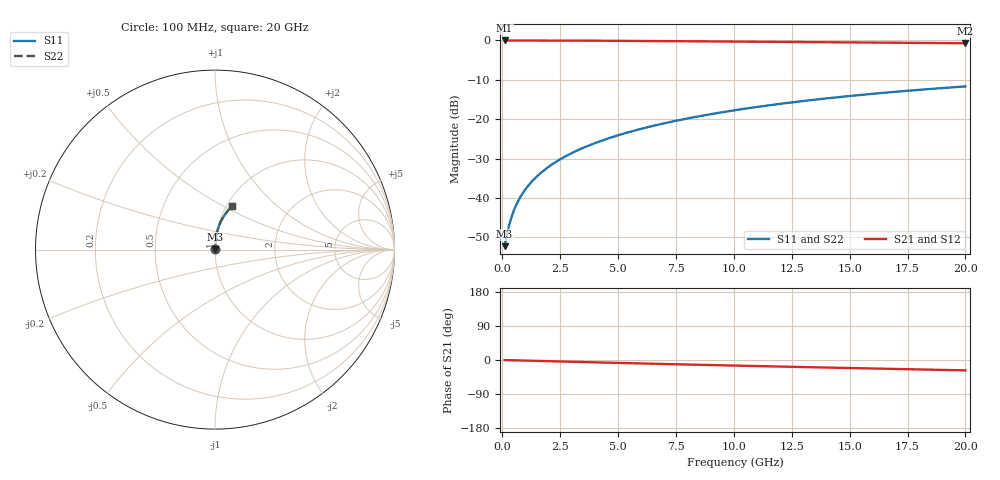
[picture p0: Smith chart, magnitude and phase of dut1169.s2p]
! Touchstone file exported from HFSS 2024.1.0
!  File:  C:/UserFiles/LocalFiles/RDL_TSV_Batchsim/temp_RDL_bottom_1169_1780056779.aedt
!  Generated:  08:15:09 PM May 29, 2026
!  Design:  RDL_bottom
!  Project:  temp_RDL_bottom_1169_1780056779
!  Setup:  Setup1
!  Solution:  Sweep
! Variables:
!  dtsv = 10.80580581um
!  hbump = 3um
!  htsv = 82.34um
!  ldown = 396.78um
!  lrdl = 100um
!  p = 40
!  p1 = 40.38um
!  rhole = 1um
!  t = 450um
!  tdown = 3.98um
!  trdl = 3.915915916um
!  wdown = 18.92um
!  wrdl = 20um
# GHz S MA R 50.000000
! Terminal data exported
! Port[1] = RDL1_T1
! Port[2] = RDL1_T2
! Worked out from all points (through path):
!   200 points, 100 MHz to 20 GHz, reference 50 ohm
!   highest |S21| = -0.02 dB at 100 MHz (marker M1); lowest = -0.7 dB at 20 GHz (marker M2)
!   group delay of S21, straight-line fit = 3.77 ps
!   lowest |S11| = -52.2 dB at 100 MHz (marker M3), VSWR 1.00, Z = 50.2 + j0.137 ohm
!   |S11| at or under -10 dB: start of sweep to end of sweep
!   |S22| runs from -52.2 to -11.7 dB; largest |S21 - S12| = 3.1e-15
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0.1  0.002449 33.8  0.998 -0.2  0.998 -0.2  0.002449 33.8
! Gamma 0 0 0 0
! Port Impedance 50 0 50 0
0.2  0.003412 52.4  0.9979 -0.3  0.9979 -0.3  0.003412 52.5
0.3  0.004556 61.9  0.9977 -0.5  0.9977 -0.5  0.004556 62.0
0.4  0.005749 67.3  0.9976 -0.6  0.9976 -0.6  0.005749 67.4
0.5  0.00695 70.8  0.9975 -0.8  0.9975 -0.8  0.006949 70.8
0.6  0.008146 73.2  0.9974 -1.0  0.9974 -1.0  0.008146 73.2
0.8  0.01052 76.4  0.9972 -1.3  0.9972 -1.3  0.01052 76.4
1.1  0.01408 79.3  0.9969 -1.7  0.9969 -1.7  0.01408 79.3
1.3  0.01646 80.5  0.9967 -2.1  0.9967 -2.1  0.01646 80.6
1.6  0.02005 81.9  0.9963 -2.5  0.9963 -2.5  0.02005 81.9
2.1  0.0261 83.3  0.9954 -3.3  0.9954 -3.3  0.0261 83.3
2.7  0.03345 84.2  0.9941 -4.2  0.9941 -4.2  0.03345 84.2
3.5  0.0434 84.8  0.992 -5.5  0.992 -5.5  0.0434 84.8
4.2  0.05225 84.9  0.9899 -6.5  0.9899 -6.5  0.05225 84.9
5  0.06251 84.8  0.9871 -7.7  0.9871 -7.7  0.0625 84.7
5.9  0.07423 84.4  0.9837 -9.0  0.9837 -9.0  0.07423 84.4
6.8  0.08613 83.8  0.9801 -10.3  0.9801 -10.3  0.08613 83.8
8.4  0.1076 82.5  0.9733 -12.5  0.9733 -12.5  0.1076 82.5
10.1  0.1307 80.7  0.9658 -14.8  0.9658 -14.8  0.1307 80.7
13.4  0.1755 76.8  0.9509 -19.2  0.9509 -19.2  0.1755 76.8
16.7  0.2191 72.6  0.9357 -23.3  0.9357 -23.3  0.2191 72.6
20  0.2606 68.3  0.9201 -27.4  0.9201 -27.4  0.2606 68.3
